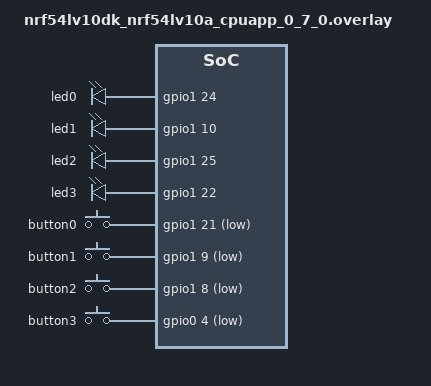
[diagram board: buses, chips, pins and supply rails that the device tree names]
/*
 * Copyright (c) 2025 Nordic Semiconductor ASA
 *
 * SPDX-License-Identifier: LicenseRef-Nordic-5-Clause
 */

/ {
	leds {
		compatible = "gpio-leds";

		led0: led_0 {
			gpios = <&gpio1 24 GPIO_ACTIVE_HIGH>;
		};

		led1: led_1 {
			gpios = <&gpio1 10 GPIO_ACTIVE_HIGH>;
		};

		led2: led_2 {
			gpios = <&gpio1 25 GPIO_ACTIVE_HIGH>;
		};

		led3: led_3 {
			gpios = <&gpio1 22 GPIO_ACTIVE_HIGH>;
		};
	};

	buttons {
		compatible = "gpio-keys";

		button0: button_0 {
			gpios = <&gpio1 21 (GPIO_PULL_UP | GPIO_ACTIVE_LOW)>;
		};

		button1: button_1 {
			gpios = <&gpio1 9 (GPIO_PULL_UP | GPIO_ACTIVE_LOW)>;
		};

		button2: button_2 {
			gpios = <&gpio1 8 (GPIO_PULL_UP | GPIO_ACTIVE_LOW)>;
		};

		button3: button_3 {
			gpios = <&gpio0 4 (GPIO_PULL_UP | GPIO_ACTIVE_LOW)>;
		};
	};
};
